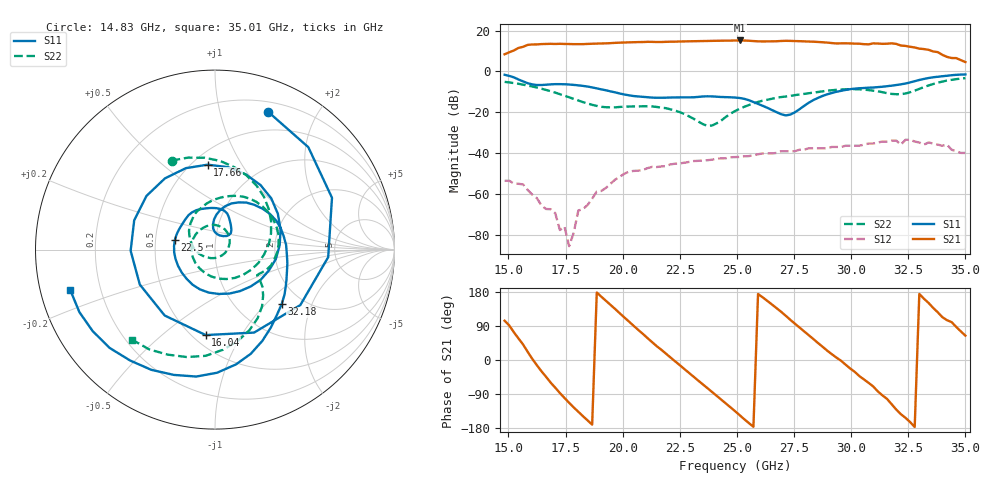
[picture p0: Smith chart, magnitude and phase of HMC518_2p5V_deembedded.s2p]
!Hittite Microwave Corporation
!20 Alpha Road
!Chelmsford, MA 01824
!Tel: 978-250-3343
!Fax: 978-250-3373
!Device: HMC518, 20-32 GHz, GaAs PHEMT MMIC Low Noise Amplifier Die
!Misc: Vdd1 = Vdd2 = Vdd3 = +2.5V, data includes two K connectors, Room
# MHZ S MA R 50
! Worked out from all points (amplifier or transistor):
!   101 points, 14.83 GHz to 35.01 GHz, reference 50 ohm
!   highest |S21| = 15.1 dB at 25.12 GHz (marker M1)
!   |S21| within 3 dB of that: 15.66 GHz to 32.54 GHz (16.88 GHz wide, 70 % of centre)
!   unconditionally stable (mu >= 1): start of sweep to end of sweep
!   at 18.06 GHz: K = 212.87, MAG = 14.5 dB, |S12| = -68.2 dB
!   at 24.92 GHz: K = 10.42, MAG = 15.4 dB, |S12| = -42.0 dB
!   at 35.01 GHz: K = 4.63, MAG = 12.6 dB, |S12| = -40.0 dB
!   S11 on the Smith chart (normalised r, x): 14.83 GHz: 0.30, +1.41; 16.04 GHz: 0.58, -0.71; 17.66 GHz: 0.59, +0.72; 22.5 GHz: 0.63, +0.07; 32.18 GHz: 1.58, -1.25; 35.01 GHz: 0.09, -0.14
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14831  0.823 68.9  2.616 103.7  0.002071 -68.3  0.552 116.0
15436.25  0.632 -3.8  3.736 57.0  0.001751 -90.0  0.495 86.7
16041.5  0.479 -96.2  4.552 3.0  0.0009517 -135.4  0.425 57.0
16848.5  0.479 160.0  4.717 -59.8  0.0004182 -157.9  0.325 16.1
17655.5  0.475 95.0  4.67 -112.9  5.186e-05 100.2  0.231 -29.0
18260.75  0.44 54.8  4.64 -148.2  0.0004192 27.2  0.176 -68.7
19269.5  0.343 -8.9  4.847 156.1  0.001392 12.1  0.132 -146.2
20278.25  0.258 -71.6  5.132 101.3  0.003486 -23.7  0.137 141.3
21690.5  0.225 -156.6  5.228 27.2  0.004673 -78.9  0.129 72.1
22497.5  0.23 166.8  5.379 -13.4  0.005516 -107.7  0.1 35.3
23708  0.244 121.5  5.547 -74.1  0.006632 -151.8  0.046 -63.8
24918.5  0.228 81.6  5.701 -134.9  0.007915 163.1  0.106 -175.3
25120.25  0.222 76.2  5.708 -145.4  0.007975 156.8  0.121 174.6
26129  0.143 50.3  5.4 165.4  0.009702 119.0  0.191 138.2
27137.75  0.083 70.4  5.589 116.9  0.011 74.7  0.241 110.7
28348.25  0.197 87.3  5.32 55.3  0.013 22.5  0.301 79.2
29962.25  0.365 33.0  4.83 -22.5  0.015 -44.2  0.366 27.1
30971  0.401 -3.5  4.843 -69.8  0.017 -87.1  0.335 -9.6
31778  0.445 -27.7  4.846 -116.8  0.02 -125.7  0.279 -29.2
32181.5  0.48 -39.4  4.284 -143.0  0.016 -142.7  0.275 -31.3
33795.5  0.735 -108.3  2.954 125.9  0.016 126.4  0.526 -76.2
35006  0.837 -164.2  1.684 64.3  0.01 75.4  0.682 -132.6
